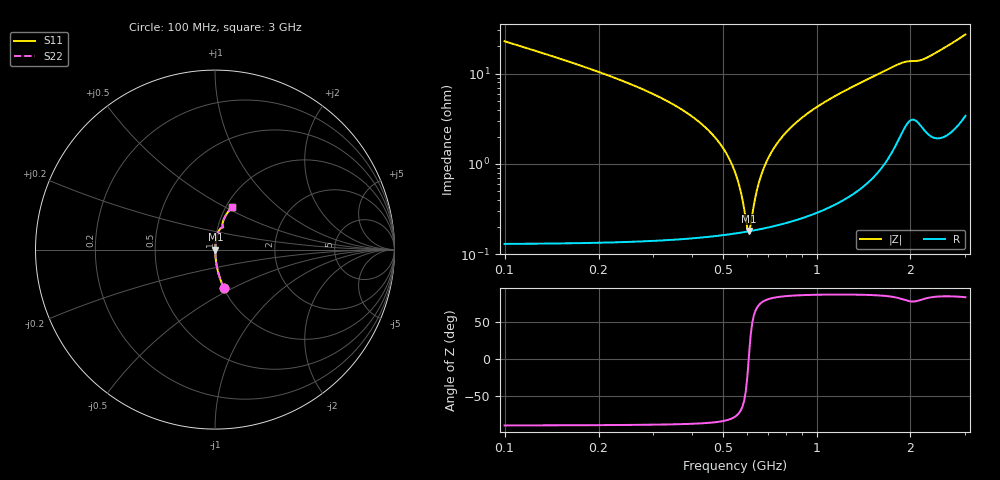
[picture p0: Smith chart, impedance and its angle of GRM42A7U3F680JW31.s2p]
!Murata Part Number: GRM42A7U3F680JW31
!These Parameters are Measured in Series Mode Connection
!Data Generated on Mar 30, 2021
!  o--ll--o
!Port1  Port2
!  o------o
!Operation Temp=25[degC], DC Bias Voltage=0[V]
!Freq. Start=100[MHz] Stop=3[GHz] 401[Steps]
# Hz S RI R 50
!Freq.(Hz) S11(Real) S11(Imag) S21(Real) S21(Imag) S12(Real) S12(Imag) S22(Real) S22(Imag)
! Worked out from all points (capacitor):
!   401 points, 100 MHz to 3 GHz, reference 50 ohm
!   read as one part in series: C = 67.9 pF near 114.5 MHz
!   lowest |Z| = 181 mohm at 607.5 MHz (marker M1)
!   series resonance near 606.1 MHz, so ESL is about 1 nH
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1e8  0.0504 -0.216  0.9496 0.216  0.9496 0.216  0.0504 -0.216
2.305e8  0.00885 -0.0862  0.9911 0.0862  0.9911 0.0862  0.00885 -0.0862
3.9e8  0.00274 -0.0353  0.9973 0.0353  0.9973 0.0353  0.00274 -0.0353
4.77e8  0.00195 -0.0188  0.9981 0.0188  0.9981 0.0188  0.00195 -0.0188
5.1325e8  0.00181 -0.013  0.9982 0.013  0.9982 0.013  0.00181 -0.013
5.4225e8  0.00176 -0.00871  0.9982 0.00871  0.9982 0.00871  0.00176 -0.00871
5.64e8  0.00175 -0.00564  0.9982 0.00564  0.9982 0.00564  0.00175 -0.00564
5.8575e8  0.00176 -0.00268  0.9982 0.00268  0.9982 0.00268  0.00176 -0.00268
6.0025e8  0.00178 -0.000765  0.9982 0.000765  0.9982 0.000765  0.00178 -0.000765
6.075e8  0.0018 0.000175  0.9982 -0.000175  0.9982 -0.000175  0.0018 0.000175
6.22e8  0.00183 0.00203  0.9982 -0.00203  0.9982 -0.00203  0.00183 0.00203
6.51e8  0.00191 0.00561  0.9981 -0.00561  0.9981 -0.00561  0.00191 0.00561
6.7275e8  0.00199 0.00821  0.998 -0.00821  0.998 -0.00821  0.00199 0.00821
7.0175e8  0.00212 0.0116  0.9979 -0.0116  0.9979 -0.0116  0.00212 0.0116
7.4525e8  0.00235 0.0164  0.9976 -0.0164  0.9976 -0.0164  0.00235 0.0164
8.7575e8  0.00334 0.03  0.9967 -0.03  0.9967 -0.03  0.00334 0.03
1.0715e9  0.00556 0.0488  0.9944 -0.0488  0.9944 -0.0488  0.00556 0.0488
1.55e9  0.0164 0.0936  0.9836 -0.0936  0.9836 -0.0936  0.0164 0.0936
1.84725e9  0.0343 0.1205  0.9657 -0.1205  0.9657 -0.1205  0.0343 0.1205
2.03575e9  0.0461 0.124  0.9539 -0.124  0.9539 -0.124  0.0461 0.124
2.5215e9  0.0504 0.1722  0.9496 -0.1722  0.9496 -0.1722  0.0504 0.1722
3e9  0.0942 0.2355  0.9058 -0.2355  0.9058 -0.2355  0.0942 0.2355
